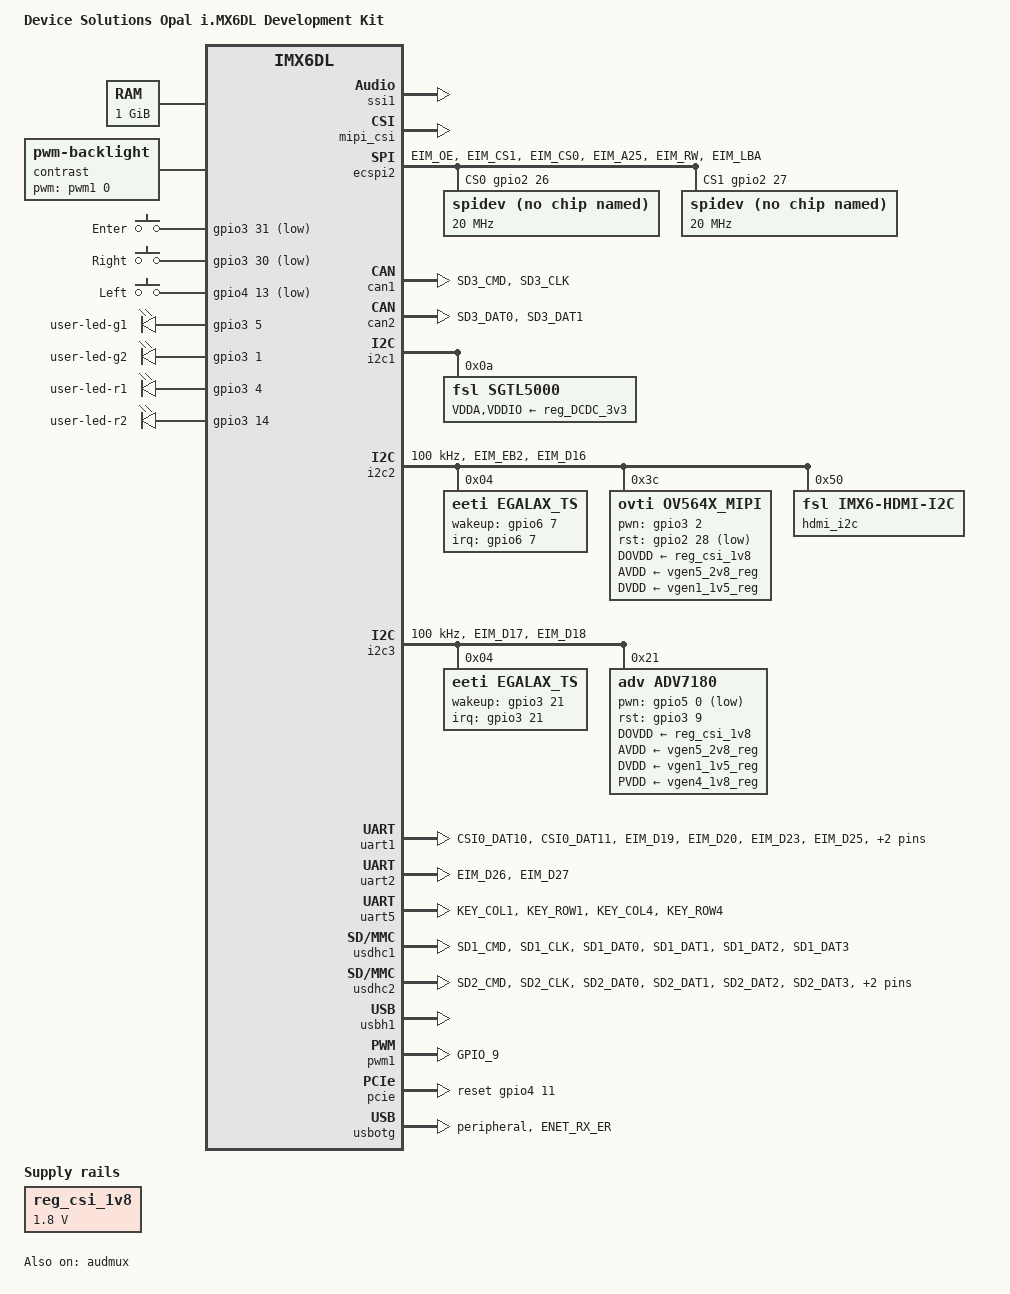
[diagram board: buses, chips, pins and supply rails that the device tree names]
/*
 * Copyright 2014 Device Solutions Ltd
 *
 * Author: John Inglis <john@device.solutions>
 *
 * This program is free software; you can redistribute it and/or modify
 * it under the terms of the GNU General Public License version 2 as
 * published by the Free Software Foundation.
 *
 */
/dts-v1/;
#include "imx6dl-opal.dtsi"
#include <dt-bindings/input/input.h>

/ {
	model = "Device Solutions Opal i.MX6DL Development Kit";
	compatible = "devicesolutions,imx6dl-opaldk", "fsl,imx6dl";

    aliases {
		mxcfb0 = &mxcfb1;
		mxcfb1 = &mxcfb2;
		mxcfb2 = &mxcfb3;
		mxcfb3 = &mxcfb4;
	};

	memory {
		reg = <0x10000000 0x40000000>;
	};

    sound {
		compatible = "fsl,imx6dl-opaldk-sgtl5000",
                     "fsl,imx-audio-sgtl5000";
		model = "imx6dl-opaldk-sgtl5000";
		ssi-controller = <&ssi1>;
		audio-codec = <&sgtl5000>;
		audio-routing =
			"MIC_IN", "Mic Jack",
			"Mic Jack", "Mic Bias",
			"Headphone Jack", "HP_OUT";
		mux-int-port = <1>;
		mux-ext-port = <3>;
        status = "okay";
	};

    sound-hdmi {
		compatible = "fsl,imx6q-audio-hdmi",
                     "fsl,imx-audio-hdmi";
		model = "imx-audio-hdmi";
		hdmi-controller = <&hdmi_audio>;
        status = "okay";
	};

    lcd@0 {
		compatible = "fsl,lcd";
		ipu_id = <0>;
		disp_id = <0>;
		default_ifmt = "RGB565";
		pinctrl-names = "default";
		pinctrl-0 = <&pinctrl_ipu1_1>;
		status = "disabled";
	};

    hannstar_cabc {
		compatible = "hannstar,cabc";

		lvds0 {
			gpios = <&gpio2 29 GPIO_ACTIVE_HIGH>;
		};

		lvds1 {
            gpios = <&gpio3 7 GPIO_ACTIVE_HIGH>;
		};
	};

    contrast {
		compatible = "pwm-backlight";
		pwms = <&pwm1 0 5000000>;
		brightness-levels = <0 4 8 16 32 64 128 255>;
		default-brightness-level = <7>;
	};

    v4l2_cap_0 {
		compatible = "fsl,imx6q-v4l2-capture";
		ipu_id = <0>;
		csi_id = <0>;
		mclk_source = <0>;
		status = "okay";
	};

    v4l2_cap_1 {
		compatible = "fsl,imx6q-v4l2-capture";
		ipu_id = <0>;
		csi_id = <1>;
		mclk_source = <0>;
		status = "okay";
	};

    v4l2_out {
		compatible = "fsl,mxc_v4l2_output";
		status = "okay";
	};

	mxcfb1: fb@0 {
		compatible = "fsl,mxc_sdc_fb";
		disp_dev = "ldb";
		interface_pix_fmt = "RGB666";
		mode_str ="LDB-XGA";
		default_bpp = <16>;
		int_clk = <0>;
		late_init = <0>;
		status = "okay";
	};

	mxcfb2: fb@1 {
		compatible = "fsl,mxc_sdc_fb";
		disp_dev = "hdmi";
		interface_pix_fmt = "RGB24";
		mode_str ="1920x1080M@60";
		default_bpp = <24>;
		int_clk = <0>;
		late_init = <0>;
		status = "okay";
	};

	mxcfb3: fb@2 {
		compatible = "fsl,mxc_sdc_fb";
		disp_dev = "lcd";
		interface_pix_fmt = "RGB565";
		mode_str ="CLAA-WVGA";
		default_bpp = <16>;
		int_clk = <0>;
		late_init = <0>;
		status = "okay";
	};

	mxcfb4: fb@3 {
		compatible = "fsl,mxc_sdc_fb";
		disp_dev = "ldb";
		interface_pix_fmt = "RGB666";
		mode_str ="LDB-XGA";
		default_bpp = <16>;
		int_clk = <0>;
		late_init = <0>;
		status = "okay";
	};

    user-keys {
		compatible = "gpio-keys";
		pinctrl-names = "default";
		pinctrl-0 = <&pinctrl_gpio_keys>;

        enter {  // user-button1
			label = "Enter";
            gpios = <&gpio3 31 GPIO_ACTIVE_LOW>;
            gpio-key,wakeup;
			linux,code = <KEY_ENTER>;
		};

		up {  // user-button2
			label = "Right";
			gpios = <&gpio3 30 GPIO_ACTIVE_LOW>;
			gpio-key,wakeup;
			linux,code = <KEY_RIGHT>;
		};

		down {  // user-button3
			label = "Left";
            gpios = <&gpio4 13 GPIO_ACTIVE_LOW>;
            gpio-key,wakeup;
			linux,code = <KEY_RIGHT>;
		};
	};

    user-leds {
        compatible = "gpio-leds";
        pinctrl-names = "default";
		pinctrl-0 = <&pinctrl_leds>;

        user-led-g1 {
            label = "user-led-g1";
            gpios = <&gpio3 5 GPIO_ACTIVE_HIGH>;
            default-state = "off";
        };

        user-led-g2 {
            label = "user-led-g2";
            gpios = <&gpio3 1 GPIO_ACTIVE_HIGH>;
            default-state = "off";
        };

        user-led-r1 {
            label = "user-led-r1";
            gpios = <&gpio3 4 GPIO_ACTIVE_HIGH>;
            default-state = "off";
        };

        user-led-r2 {
            label = "user-led-r2";
            gpios = <&gpio3 14 GPIO_ACTIVE_HIGH>;
            default-state = "off";
        };
    };

    regulators {
		compatible = "simple-bus";

		reg_csi_1v8: csi_1v8 {
			compatible = "regulator-fixed";
			regulator-name = "CSI_1v8";
			regulator-min-microvolt = <1800000>;
			regulator-max-microvolt = <1800000>;
			regulator-always-on;
		};
    };
};

&audmux {
	pinctrl-names = "default";
	pinctrl-0 = <&pinctrl_audmux_2>;
	status = "okay";
};

&ssi1 {
	fsl,mode = "i2s-slave";
	status = "okay";
};

&ldb {
	lvds-channel@0 {
		crtc = "ipu1-di0";
	};

	lvds-channel@1 {
		crtc = "ipu1-di1";
	};
};

&mipi_csi {
    status = "okay";
    ipu_id = <0>;
    csi_id = <1>;
    v_channel = <0>;
    lanes = <2>;
};

&ecspi2 {  /* External expansion */
	fsl,spi-num-chipselects = <2>;
	cs-gpios = <&gpio2 26 0>, <&gpio2 27 0>;
	pinctrl-names = "default";
	pinctrl-0 = <&pinctrl_ecspi2_1>;
	status = "okay";

    spidev@0x00 {
        compatible = "spidev";
        spi-max-frequency = <20000000>;
        reg = <0>;
    };
    spidev@0x01 {
        compatible = "spidev";
        spi-max-frequency = <20000000>;
        reg = <1>;
    };
};

&can1 {
	pinctrl-names = "default";
	pinctrl-0 = <&pinctrl_flexcan1_3>;
	status = "okay";
};

&can2 {
	pinctrl-names = "default";
	pinctrl-0 = <&pinctrl_flexcan2_2>;
	status = "okay";
};

&i2c1 {  /* PMIC also on this bus */
    sgtl5000: sgtl5000@0a {  // Audio
		compatible = "fsl,sgtl5000";
		reg = <0x0a>;
		clocks = <&clks 201>;
		VDDA-supply = <&reg_DCDC_3v3>;
		VDDIO-supply = <&reg_DCDC_3v3>;
	};
/*
    rtc@68 {
        compatible = "st,m41t80";
        reg = <0x68>;
        // RTC_INT1 GPIO3_22, RTC_INT2 GPIO2_6 - are these supported in driver?
        interrupt-parent = <&gpio3>;
        interrupts = <22 8>;
    };
*/
};

&i2c2 {
	status = "okay";
	clock-frequency = <100000>;
	pinctrl-names = "default";
	pinctrl-0 = <&pinctrl_i2c2_1>;

    /* LVDS1 */
    egalax_ts@04 {
		compatible = "eeti,egalax_ts";
		reg = <0x04>;
        interrupt-parent = <&gpio6>;
		interrupts = <7 2>;
		wakeup-gpios = <&gpio6 7 0>;
	};

    ov564x_mipi: ov564x_mipi@3c {
		compatible = "ovti,ov564x_mipi";
		reg = <0x3c>;
		clocks = <&clks 200>;
		clock-names = "csi_mclk";
		DOVDD-supply = <&reg_csi_1v8>; // 1v8
		AVDD-supply = <&vgen5_2v8_reg>; // 2v8
		DVDD-supply = <&vgen1_1v5_reg>;  // 1v5
		pwn-gpios = <&gpio3 2 GPIO_ACTIVE_HIGH>;
		rst-gpios = <&gpio2 28 GPIO_ACTIVE_LOW>;
		csi_id = <1>;
		mclk = <24000000>;
		mclk_source = <0>;
	};

	hdmi_i2c: edid@50 {
        compatible = "fsl,imx6-hdmi-i2c";
        reg = <0x50>;
	};
};

&i2c3 {
	status = "okay";
	clock-frequency = <100000>;
	pinctrl-names = "default";
	pinctrl-0 = <&pinctrl_i2c3_1>;

    /* LVDS0 */
    egalax_ts@04 {
		compatible = "eeti,egalax_ts";
		reg = <0x04>;
		interrupt-parent = <&gpio3>;
		interrupts = <21 2>;
		wakeup-gpios = <&gpio3 21 0>;
	};

    adv7180: adv7180@21 {
		compatible = "adv,adv7180";
		reg = <0x21>;
		pinctrl-names = "default";
		pinctrl-0 = <&pinctrl_ipu1_2>;
		clocks = <&clks IMX6QDL_CLK_CKO2>;  // IMX6QDL_CLK_CKO
		clock-names = "csi_mclk";
		DOVDD-supply = <&reg_csi_1v8>; // 1v8
		AVDD-supply = <&vgen5_2v8_reg>; // 2v8
		DVDD-supply = <&vgen1_1v5_reg>;  // 1v5
		PVDD-supply = <&vgen4_1v8_reg>;  /* 1.8v */
		pwn-gpios = <&gpio5 0 1>;
		rst-gpios = <&gpio3 9 0>;
		csi_id = <0>;
		mclk = <24000000>;
		mclk_source = <0>;
		cvbs = <1>;
	};
};

&uart1 {  /* Telit modem */
	pinctrl-names = "default";
	pinctrl-0 = <&pinctrl_uart1_1 &pinctrl_uart1_modem_1>;
    fsl,uart-has-rtscts;
	status = "okay";
};

&uart2 {  /* RS485/Expansion */
	pinctrl-names = "default";
	pinctrl-0 = <&pinctrl_uart2_3>;
    fsl,rs485-mode;
    rs485-de-gpio = <&gpio3 28 0>;
    rs485-re-gpio = <&gpio3 29 0>;
	status = "okay";
};

&uart5 {  /* Bluetooth */
	pinctrl-names = "default";
	pinctrl-0 = <&pinctrl_uart5_1>;
    fsl,uart-has-rtscts;
	status = "okay";
};

&usdhc1 {  /* wifi */
	pinctrl-names = "default";
	pinctrl-0 = <&pinctrl_usdhc1_1>;
	no-1-8-v;
	status = "okay";
};

&usdhc2 {  /* sd card */
	pinctrl-names = "default";
	pinctrl-0 = <&pinctrl_usdhc2_2>;
	cd-gpios = <&gpio1 4 GPIO_ACTIVE_LOW>;
	wp-gpios = <&gpio1 2 GPIO_ACTIVE_LOW>;
	no-1-8-v;
	status = "okay";
};

&usbh1 {
	/*vbus-supply = <&reg_usb_h1_vbus>;*/
	status = "okay";
};

&pwm1 {
	pinctrl-names = "default";
	pinctrl-0 = <&pinctrl_pwm1_2>;
	status = "okay";
};

&pcie {
    power-on-gpio = <&gpio6 10 0>;
    reset-gpio = <&gpio4 11 0>;
    wake-up-gpio = <&gpio6 14 0>;
    disable-gpio = <&gpio4 10 0>;
    status = "ok";
};

&usbotg {
	pinctrl-names = "default";
	pinctrl-0 = <&pinctrl_usbotg>;
	disable-over-current;
	dr_mode = "peripheral";
	status = "okay";
};

&iomuxc {
    pinctrl-names = "default";
	pinctrl-0 = <&pinctrl_hog>;

	imx6dl-opal6 {
		pinctrl_hog: hoggrp {
			fsl,pins = <
                /* Audio and camera clocks */
                MX6QDL_PAD_GPIO_0__CCM_CLKO1        0x130b0
                MX6QDL_PAD_GPIO_3__CCM_CLKO2        0x130b0
                /* sdhc2 */
                MX6QDL_PAD_GPIO_4__GPIO1_IO04       0x80000000
                MX6QDL_PAD_GPIO_2__GPIO1_IO02       0x80000000
                /* RTC interrupts */
                MX6QDL_PAD_EIM_D22__GPIO3_IO22      0x80000000
                MX6QDL_PAD_NANDF_ALE__GPIO6_IO08    0x80000000
                /* LVDS */
                MX6QDL_PAD_EIM_EB1__GPIO2_IO29      0x80000000
                MX6QDL_PAD_EIM_DA7__GPIO3_IO07      0x80000000
                MX6QDL_PAD_EIM_D21__GPIO3_IO21      0x80000000
                MX6QDL_PAD_NANDF_CLE__GPIO6_IO07    0x80000000
                /* MIPI camera */
                MX6QDL_PAD_EIM_DA2__GPIO3_IO02      0x130b0  // PWR
                MX6QDL_PAD_EIM_EB0__GPIO2_IO28      0x80000000  // RESET
                /* Parallel camera */
                MX6QDL_PAD_EIM_DA9__GPIO3_IO09      0x80000000
                MX6QDL_PAD_EIM_WAIT__GPIO5_IO00     0x80000000
                /* wifi */
                MX6QDL_PAD_EIM_DA0__GPIO3_IO00      0x80000000  // pwd_l
                MX6QDL_PAD_EIM_DA8__GPIO3_IO08      0x80000000  // reset
                /* modem */
                //MX6QDL_PAD_EIM_DA3__GPIO3_IO03      0x80000000
                //MX6QDL_PAD_EIM_DA6__GPIO3_IO06      0x80000000
                //MX6QDL_PAD_SD3_DAT2__GPIO7_IO06     0x80000000
                MX6QDL_PAD_NANDF_RB0__GPIO6_IO10    0x80000000
                MX6QDL_PAD_NANDF_CS1__GPIO6_IO14    0x80000000
                MX6QDL_PAD_KEY_COL2__GPIO4_IO10     0x80000000
                MX6QDL_PAD_KEY_ROW2__GPIO4_IO11     0x80000000

                MX6QDL_PAD_EIM_D28__GPIO3_IO28      0x80000000
                MX6QDL_PAD_EIM_D29__GPIO3_IO29      0x80000000

                MX6QDL_PAD_NANDF_D2__GPIO2_IO02     0x1f0b0
                MX6QDL_PAD_NANDF_D3__GPIO2_IO03     0x1f0b0
			>;
		};

		pinctrl_leds: ledsgrp {  /* LEDs */
		    fsl,pins = <
				MX6QDL_PAD_EIM_DA5__GPIO3_IO05      0x80000000
                MX6QDL_PAD_EIM_DA1__GPIO3_IO01      0x80000000
                MX6QDL_PAD_EIM_DA4__GPIO3_IO04      0x80000000
                MX6QDL_PAD_EIM_DA14__GPIO3_IO14     0x80000000
            >;
		};

        pinctrl_gpio_keys: gpio_keysgrp {  /* User Buttons */
            fsl,pins = <
                MX6QDL_PAD_EIM_D31__GPIO3_IO31      0x1b0b0
                MX6QDL_PAD_EIM_D30__GPIO3_IO30      0x1b0b0
                MX6QDL_PAD_KEY_ROW3__GPIO4_IO13     0x1b0b0
            >;
        };

        pinctrl_audmux_2: audmux-2 {
            fsl,pins = <
                MX6QDL_PAD_CSI0_DAT7__AUD3_RXD  0x130b0
                MX6QDL_PAD_CSI0_DAT4__AUD3_TXC  0x130b0
                MX6QDL_PAD_CSI0_DAT5__AUD3_TXD  0x110b0
                MX6QDL_PAD_CSI0_DAT6__AUD3_TXFS 0x130b0
            >;
        };

        pinctrl_flexcan1_3: flexcan1grp-3 {
            fsl,pins = <
                MX6QDL_PAD_SD3_CMD__FLEXCAN1_TX     0x80000000
                MX6QDL_PAD_SD3_CLK__FLEXCAN1_RX     0x80000000
            >;
        };

        pinctrl_flexcan2_2: flexcan2grp-2 {
            fsl,pins = <
                MX6QDL_PAD_SD3_DAT0__FLEXCAN2_TX    0x80000000
                MX6QDL_PAD_SD3_DAT1__FLEXCAN2_RX    0x80000000
            >;
        };

        pinctrl_ecspi2_1: ecspi2grp-1 {
            fsl,pins = <
                MX6QDL_PAD_EIM_OE__ECSPI2_MISO  0x100b1
                MX6QDL_PAD_EIM_CS1__ECSPI2_MOSI 0x100b1
                MX6QDL_PAD_EIM_CS0__ECSPI2_SCLK 0x100b1
                MX6QDL_PAD_EIM_A25__ECSPI2_RDY  0x100b1
                /* i.MX SPI driver only supports GPIO SS */
                MX6QDL_PAD_EIM_RW__GPIO2_IO26   0x80000000
                MX6QDL_PAD_EIM_LBA__GPIO2_IO27  0x80000000
            >;
        };

        pinctrl_i2c1_2: i2c1grp-2 {
            fsl,pins = <
                MX6QDL_PAD_CSI0_DAT8__I2C1_SDA 0x4001b8b1
                MX6QDL_PAD_CSI0_DAT9__I2C1_SCL 0x4001b8b1
            >;
        };

        pinctrl_i2c2_1: i2c2grp-1 {
            fsl,pins = <
                MX6QDL_PAD_EIM_EB2__I2C2_SCL 0x4001b8b1
                MX6QDL_PAD_EIM_D16__I2C2_SDA 0x4001b8b1
            >;
        };

        pinctrl_i2c3_1: i2c3grp-1 {
            fsl,pins = <
                MX6QDL_PAD_EIM_D17__I2C3_SCL 0x4001b8b1
                MX6QDL_PAD_EIM_D18__I2C3_SDA 0x4001b8b1
            >;
        };

        pinctrl_i2c4_1: i2c4grp-1 {
            fsl,pins = <
                MX6QDL_PAD_NANDF_WP_B__I2C4_SCL 0x4001b8b1
                MX6QDL_PAD_NANDF_CS3__I2C4_SDA  0x4001b8b1
            >;
        };

        pinctrl_ipu1_1: ipu1grp {
            fsl,pins = <
                MX6QDL_PAD_DI0_DISP_CLK__IPU1_DI0_DISP_CLK 0x10
                MX6QDL_PAD_DI0_PIN15__IPU1_DI0_PIN15       0x10
                MX6QDL_PAD_DI0_PIN2__IPU1_DI0_PIN02        0x10
                MX6QDL_PAD_DI0_PIN3__IPU1_DI0_PIN03        0x10
                MX6QDL_PAD_DI0_PIN4__IPU1_DI0_PIN04        0x80000000
                MX6QDL_PAD_DISP0_DAT0__IPU1_DISP0_DATA00   0x10
                MX6QDL_PAD_DISP0_DAT1__IPU1_DISP0_DATA01   0x10
                MX6QDL_PAD_DISP0_DAT2__IPU1_DISP0_DATA02   0x10
                MX6QDL_PAD_DISP0_DAT3__IPU1_DISP0_DATA03   0x10
                MX6QDL_PAD_DISP0_DAT4__IPU1_DISP0_DATA04   0x10
                MX6QDL_PAD_DISP0_DAT5__IPU1_DISP0_DATA05   0x10
                MX6QDL_PAD_DISP0_DAT6__IPU1_DISP0_DATA06   0x10
                MX6QDL_PAD_DISP0_DAT7__IPU1_DISP0_DATA07   0x10
                MX6QDL_PAD_DISP0_DAT8__IPU1_DISP0_DATA08   0x10
                MX6QDL_PAD_DISP0_DAT9__IPU1_DISP0_DATA09   0x10
                MX6QDL_PAD_DISP0_DAT10__IPU1_DISP0_DATA10  0x10
                MX6QDL_PAD_DISP0_DAT11__IPU1_DISP0_DATA11  0x10
                MX6QDL_PAD_DISP0_DAT12__IPU1_DISP0_DATA12  0x10
                MX6QDL_PAD_DISP0_DAT13__IPU1_DISP0_DATA13  0x10
                MX6QDL_PAD_DISP0_DAT14__IPU1_DISP0_DATA14  0x10
                MX6QDL_PAD_DISP0_DAT15__IPU1_DISP0_DATA15  0x10
                MX6QDL_PAD_DISP0_DAT16__IPU1_DISP0_DATA16  0x10
                MX6QDL_PAD_DISP0_DAT17__IPU1_DISP0_DATA17  0x10
                MX6QDL_PAD_DISP0_DAT18__IPU1_DISP0_DATA18  0x10
                MX6QDL_PAD_DISP0_DAT19__IPU1_DISP0_DATA19  0x10
                MX6QDL_PAD_DISP0_DAT20__IPU1_DISP0_DATA20  0x10
                MX6QDL_PAD_DISP0_DAT21__IPU1_DISP0_DATA21  0x10
                MX6QDL_PAD_DISP0_DAT22__IPU1_DISP0_DATA22  0x10
                MX6QDL_PAD_DISP0_DAT23__IPU1_DISP0_DATA23  0x10
            >;
        };

        pinctrl_ipu1_2: ipu1grp-2 { /* parallel camera */
            fsl,pins = <
                MX6QDL_PAD_CSI0_DAT12__IPU1_CSI0_DATA12    0x80000000
                MX6QDL_PAD_CSI0_DAT13__IPU1_CSI0_DATA13    0x80000000
                MX6QDL_PAD_CSI0_DAT14__IPU1_CSI0_DATA14    0x80000000
                MX6QDL_PAD_CSI0_DAT15__IPU1_CSI0_DATA15    0x80000000
                MX6QDL_PAD_CSI0_DAT16__IPU1_CSI0_DATA16    0x80000000
                MX6QDL_PAD_CSI0_DAT17__IPU1_CSI0_DATA17    0x80000000
                MX6QDL_PAD_CSI0_DAT18__IPU1_CSI0_DATA18    0x80000000
                MX6QDL_PAD_CSI0_DAT19__IPU1_CSI0_DATA19    0x80000000
                MX6QDL_PAD_CSI0_DATA_EN__IPU1_CSI0_DATA_EN 0x80000000
                MX6QDL_PAD_CSI0_PIXCLK__IPU1_CSI0_PIXCLK   0x80000000
                MX6QDL_PAD_CSI0_MCLK__IPU1_CSI0_HSYNC      0x80000000
                MX6QDL_PAD_CSI0_VSYNC__IPU1_CSI0_VSYNC     0x80000000
            >;
        };

        pinctrl_uart1_1: uart1grp-1 {
            fsl,pins = <
                MX6QDL_PAD_CSI0_DAT10__UART1_TX_DATA 0x1b0b1
                MX6QDL_PAD_CSI0_DAT11__UART1_RX_DATA 0x1b0b1
            >;
        };

        pinctrl_uart1_modem_1: uart1_modemgrp-1 {
            fsl,pins = <
                MX6QDL_PAD_EIM_D19__UART1_CTS_B 0x1b0b1
                MX6QDL_PAD_EIM_D20__UART1_RTS_B 0x1b0b1
                MX6QDL_PAD_EIM_D23__UART1_DCD_B 0x1b0b1
                MX6QDL_PAD_EIM_D25__UART1_DSR_B 0x1b0b1
                MX6QDL_PAD_EIM_D24__UART1_DTR_B 0x1b0b1
                MX6QDL_PAD_EIM_EB3__UART1_RI_B  0x1b0b1
            >;
        };

        pinctrl_uart2_3: uart2grp-3 {
            fsl,pins = <
                MX6QDL_PAD_EIM_D26__UART2_TX_DATA   0x1b0b1
                MX6QDL_PAD_EIM_D27__UART2_RX_DATA   0x1b0b1
                //MX6QDL_PAD_EIM_D29__UART2_RTS_B     0x1b0b1
                //MX6QDL_PAD_EIM_D28__UART2_CTS_B     0x1b0b1
            >;
        };

        pinctrl_uart4_1: uart4grp-1 {
            fsl,pins = <
                MX6QDL_PAD_KEY_COL0__UART4_TX_DATA 0x1b0b1
                MX6QDL_PAD_KEY_ROW0__UART4_RX_DATA 0x1b0b1
            >;
        };

        pinctrl_uart5_1: uart5grp-1 {
            fsl,pins = <
                MX6QDL_PAD_KEY_COL1__UART5_TX_DATA  0x1b0b1
                MX6QDL_PAD_KEY_ROW1__UART5_RX_DATA  0x1b0b1
                MX6QDL_PAD_KEY_COL4__UART5_RTS_B    0x1b0b1
                MX6QDL_PAD_KEY_ROW4__UART5_CTS_B    0x1b0b1
            >;
        };

        pinctrl_pwm1_2: pwm1grp-2 {
            fsl,pins = <
                MX6QDL_PAD_GPIO_9__PWM1_OUT 0x1b0b1
            >;
        };

        pinctrl_usdhc1_1: usdhc1grp-1 {
            fsl,pins = <
                MX6QDL_PAD_SD1_CMD__SD1_CMD    0x17071
                MX6QDL_PAD_SD1_CLK__SD1_CLK    0x10071
                MX6QDL_PAD_SD1_DAT0__SD1_DATA0 0x17071
                MX6QDL_PAD_SD1_DAT1__SD1_DATA1 0x17071
                MX6QDL_PAD_SD1_DAT2__SD1_DATA2 0x17071
                MX6QDL_PAD_SD1_DAT3__SD1_DATA3 0x17071
            >;
        };

        pinctrl_usdhc2_2: usdhc2grp-2 {
            fsl,pins = <
                MX6QDL_PAD_SD2_CMD__SD2_CMD    0x17059
                MX6QDL_PAD_SD2_CLK__SD2_CLK    0x10059
                MX6QDL_PAD_SD2_DAT0__SD2_DATA0 0x17059
                MX6QDL_PAD_SD2_DAT1__SD2_DATA1 0x17059
                MX6QDL_PAD_SD2_DAT2__SD2_DATA2 0x17059
                MX6QDL_PAD_SD2_DAT3__SD2_DATA3 0x17059
            >;
        };

        pinctrl_usdhc4_1: usdhc4grp-1 {
            fsl,pins = <
                MX6QDL_PAD_SD4_CMD__SD4_CMD    0x17059
                MX6QDL_PAD_SD4_CLK__SD4_CLK    0x10059
                MX6QDL_PAD_SD4_DAT0__SD4_DATA0 0x17059
                MX6QDL_PAD_SD4_DAT1__SD4_DATA1 0x17059
                MX6QDL_PAD_SD4_DAT2__SD4_DATA2 0x17059
                MX6QDL_PAD_SD4_DAT3__SD4_DATA3 0x17059
                MX6QDL_PAD_SD4_DAT4__SD4_DATA4 0x17059
                MX6QDL_PAD_SD4_DAT5__SD4_DATA5 0x17059
                MX6QDL_PAD_SD4_DAT6__SD4_DATA6 0x17059
                MX6QDL_PAD_SD4_DAT7__SD4_DATA7 0x17059
            >;
        };

        pinctrl_usbotg: usbotggrp {
			fsl,pins = <
                MX6QDL_PAD_ENET_RX_ER__USB_OTG_ID 0x17059
			>;
		};
	};
};
